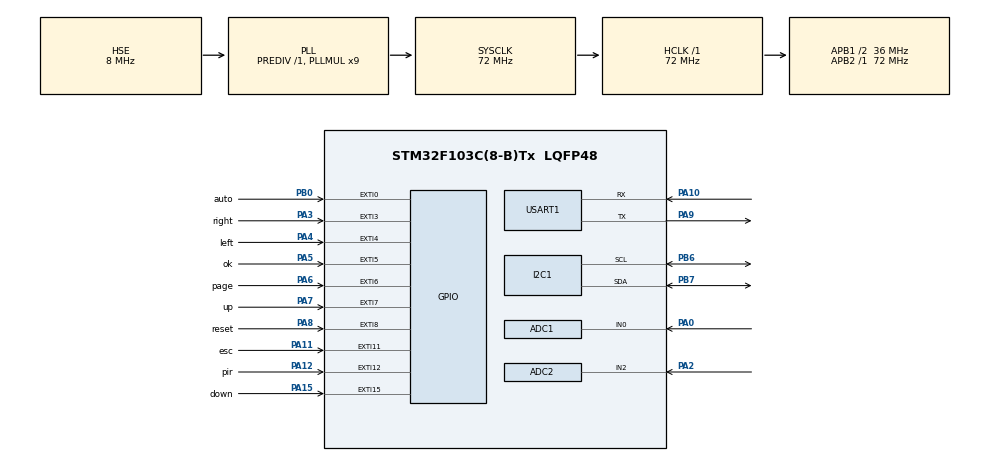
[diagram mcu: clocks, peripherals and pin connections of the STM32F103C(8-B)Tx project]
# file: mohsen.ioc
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ADC1.Channel-0\#ChannelRegularConversion=ADC_CHANNEL_0
ADC1.NbrOfConversionFlag=1
ADC1.Rank-0\#ChannelRegularConversion=1
ADC1.SamplingTime-0\#ChannelRegularConversion=ADC_SAMPLETIME_1CYCLE_5
ADC1.master=1
ADC2.Channel-1\#ChannelRegularConversion=ADC_CHANNEL_2
ADC2.NbrOfConversionFlag=1
ADC2.Rank-1\#ChannelRegularConversion=1
ADC2.SamplingTime-1\#ChannelRegularConversion=ADC_SAMPLETIME_1CYCLE_5
Dma.Request0=USART1_RX
Dma.USART1_RX.0.Direction=DMA_PERIPH_TO_MEMORY
Dma.USART1_RX.0.Instance=DMA1_Channel5
Dma.USART1_RX.0.MemDataAlignment=DMA_MDATAALIGN_BYTE
Dma.USART1_RX.0.MemInc=DMA_MINC_ENABLE
Dma.USART1_RX.0.Mode=DMA_NORMAL
Dma.USART1_RX.0.PeriphDataAlignment=DMA_PDATAALIGN_BYTE
Dma.USART1_RX.0.PeriphInc=DMA_PINC_DISABLE
Dma.USART1_RX.0.Priority=DMA_PRIORITY_LOW
IWDG.Prescaler=IWDG_PRESCALER_128
Mcu.Family=STM32F1
Mcu.Name=STM32F103C(8-B)Tx
Mcu.Package=LQFP48
NVIC.DMA1_Channel5_IRQn=true\:0\:0\:false\:false\:true\:false\:true\:true
NVIC.EXTI0_IRQn=true\:0\:0\:false\:false\:true\:true\:true\:true
NVIC.EXTI15_10_IRQn=true\:0\:0\:false\:false\:true\:true\:true\:true
NVIC.EXTI3_IRQn=true\:0\:0\:false\:false\:true\:true\:true\:true
NVIC.EXTI4_IRQn=true\:0\:0\:false\:false\:true\:true\:true\:true
NVIC.EXTI9_5_IRQn=true\:0\:0\:false\:false\:true\:true\:true\:true
NVIC.PriorityGroup=NVIC_PRIORITYGROUP_4
NVIC.TIM2_IRQn=true\:0\:0\:false\:false\:true\:true\:true\:true
NVIC.TIM3_IRQn=true\:0\:0\:false\:false\:true\:true\:true\:true
NVIC.TIM4_IRQn=true\:0\:0\:false\:false\:true\:true\:true\:true
NVIC.USART1_IRQn=true\:0\:0\:false\:false\:true\:true\:true\:true
PA0-WKUP.Signal=ADCx_IN0
PA10.Mode=Asynchronous
PA10.Signal=USART1_RX
PA11.GPIO_Label=esc
PA11.Signal=GPXTI11
PA12.GPIO_Label=pir
PA12.Signal=GPXTI12
PA13.Mode=Serial_Wire
PA13.Signal=SYS_JTMS-SWDIO
PA14.Mode=Serial_Wire
PA14.Signal=SYS_JTCK-SWCLK
PA15.GPIO_Label=down
PA15.Signal=GPXTI15
PA2.Signal=ADCx_IN2
PA3.GPIO_Label=right
PA3.Signal=GPXTI3
PA4.GPIO_Label=left
PA4.Signal=GPXTI4
PA5.GPIO_Label=ok
PA5.Signal=GPXTI5
PA6.GPIO_Label=page
PA6.Signal=GPXTI6
PA7.GPIO_Label=up
PA7.Signal=GPXTI7
PA8.GPIO_Label=reset
PA8.Signal=GPXTI8
PA9.Mode=Asynchronous
PA9.Signal=USART1_TX
PB0.GPIO_Label=auto
PB0.Signal=GPXTI0
PB6.Mode=I2C
PB6.Signal=I2C1_SCL
PB7.Mode=I2C
PB7.Signal=I2C1_SDA
PC14-OSC32_IN.Mode=LSE-External-Oscillator
PC14-OSC32_IN.Signal=RCC_OSC32_IN
PC15-OSC32_OUT.Mode=LSE-External-Oscillator
PC15-OSC32_OUT.Signal=RCC_OSC32_OUT
PD0-OSC_IN.Mode=HSE-External-Oscillator
PD0-OSC_IN.Signal=RCC_OSC_IN
PD1-OSC_OUT.Mode=HSE-External-Oscillator
PD1-OSC_OUT.Signal=RCC_OSC_OUT
ProjectManager.HeapSize=0x200
ProjectManager.StackSize=0x400
ProjectManager.TargetToolchain=MDK-ARM V5.32
RCC.ADCPresc=RCC_ADCPCLK2_DIV6
RCC.AHBFreq_Value=72000000
RCC.APB1CLKDivider=RCC_HCLK_DIV2
RCC.APB1Freq_Value=36000000
RCC.APB1TimFreq_Value=72000000
RCC.APB2Freq_Value=72000000
RCC.APB2TimFreq_Value=72000000
RCC.HCLKFreq_Value=72000000
RCC.PLLMUL=RCC_PLL_MUL9
RCC.PLLSourceVirtual=RCC_PLLSOURCE_HSE
RCC.RTCClockSelection=RCC_RTCCLKSOURCE_LSE
RCC.SYSCLKFreq_VALUE=72000000
RCC.SYSCLKSource=RCC_SYSCLKSOURCE_PLLCLK
RCC.USBFreq_Value=72000000
SH.ADCx_IN0.0=ADC1_IN0,IN0
SH.ADCx_IN2.0=ADC2_IN2,IN2
TIM2.Prescaler=7200
USART1.VirtualMode=VM_ASYNC
VP_IWDG_VS_IWDG.Mode=IWDG_Activate
VP_RTC_No_RTC_Output.Mode=RTC_OUT_NO
VP_RTC_VS_RTC_Activate.Mode=RTC_Enabled
VP_TIM2_VS_ClockSourceINT.Mode=Internal
VP_TIM3_VS_ClockSourceINT.Mode=Internal
VP_TIM4_VS_ClockSourceINT.Mode=Internal
board=custom

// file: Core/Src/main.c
/* USER CODE BEGIN Header */
/**
  ******************************************************************************
  * @file           : main.c
  * @brief          : Main program body
  ******************************************************************************
  * @attention
  *
  * Copyright (c) 2023 STMicroelectronics.
  * All rights reserved.
  *
  * This software is licensed under terms that can be found in the LICENSE file
  * in the root directory of this software component.
  * If no LICENSE file comes with this software, it is provided AS-IS.
  *
  ******************************************************************************
  */
/* USER CODE END Header */
#include "main.h"
#include "adc.h"
#include "dma.h"
#include "i2c.h"
#include "iwdg.h"
#include "rtc.h"
#include "tim.h"
#include "usart.h"
#include "gpio.h"
#include "LCD.h"
#include "menu.h"
#include "stm32f1xx_hal.h"
#include "EVENT_SAVE.h"
#include "string.h"
#include "stdio.h"
extern uint16_t KEY2;

extern int sw;
extern uint8_t RxBuf1[100];
extern DMA_HandleTypeDef hdma_usart1_rx;
 #define res        IWDG->KR  = 0xAAAA;
//maziar soliemani

/* USER CODE BEGIN PM */
#include "tim.h"
extern uint8_t CR ;
extern uint8_t TUI;
extern int sige;
uint8_t p2=0;
extern  uint8_t dg;
int autoo;
extern uint8_t FGK;
/* Private includes ----------------------------------------------------------*/
/* USER CODE BEGIN Includes */
#define relay_on    HAL_GPIO_WritePin(GPIOB,  GPIO_PIN_13, GPIO_PIN_SET)
#define relay_off    HAL_GPIO_WritePin(GPIOB,  GPIO_PIN_13, GPIO_PIN_RESET)
#define MANUAL_ON    HAL_GPIO_WritePin(GPIOB,  GPIO_PIN_3, GPIO_PIN_SET)
#define MANUAL_OFF    HAL_GPIO_WritePin(GPIOB,  GPIO_PIN_3, GPIO_PIN_RESET)
#define AUTOPILOT_ON    HAL_GPIO_WritePin(GPIOB,  GPIO_PIN_2, GPIO_PIN_SET)
#define AUTOPILOT_OFF    HAL_GPIO_WritePin(GPIOB,  GPIO_PIN_2, GPIO_PIN_RESET)
#define PIR_ON    HAL_GPIO_WritePin(GPIOB,  GPIO_PIN_8, GPIO_PIN_SET)
#define PIR_OFF    HAL_GPIO_WritePin(GPIOB,  GPIO_PIN_8, GPIO_PIN_RESET)
#define INTERNAL_ON    HAL_GPIO_WritePin(GPIOB,  GPIO_PIN_4, GPIO_PIN_SET)
#define INTERNAL_OFF    HAL_GPIO_WritePin(GPIOB,  GPIO_PIN_4, GPIO_PIN_RESET)
#define EXT_ON    HAL_GPIO_WritePin(GPIOB,  GPIO_PIN_14, GPIO_PIN_SET)
#define EXT_OFF    HAL_GPIO_WritePin(GPIOB,  GPIO_PIN_14, GPIO_PIN_RESET)
#define manu  HAL_GPIO_ReadPin( GPIOB,GPIO_PIN_0  )
#define LED_ON_FIRSTBUZZER  TX_Buffer7[0]=~((~TX_Buffer7[0])|0x10);
#define LED_OFF_FIRSTBUZZER  TX_Buffer7[0]=((TX_Buffer7[0])|0x10);
#define LED_ON_SECONDBUZZER  TX_Buffer7[0]=~((~TX_Buffer7[0])|0x20)

#define LED_OFF_SECONDBUZZER  TX_Buffer7[0]=((TX_Buffer7[0])|0x20)

extern uint8_t TIMO;
uint8_t WARN=0;
uint8_t WARN1=0;
uint8_t WARN2=0;
uint8_t WARN3=0;
  /* Private typedef -----------------------------------------------------------*/
/* USER CODE BEGIN PTD */

/* USER CODE END PTD */

/* Private define ------------------------------------------------------------*/
/* USER CODE BEGIN PD */
/* USER CODE END PD */

/* Private macro -------------------------------------------------------------*/
/* USER CODE BEGIN PM */
UART_HandleTypeDef huart1;
/* USER CODE END PM */
extern uint8_t TX_Buffer7[1];
	uint8_t pervious_second=0;
	float AD_AC=0;
  float AD_DC=0;
  RTC_TimeTypeDef sTime2 = {0};
  RTC_DateTypeDef DateToUpdate2 = {0};

uint8_t REP=0;
uint8_t REP1=0;
uint8_t REP2=0;
uint8_t REP3=0;
uint8_t REP4=0;
uint8_t minu=30;
uint8_t sec=0;
char time[20];
RTC_DateTypeDef DateToUpdate1;

	uint8_t mj2;

UART_HandleTypeDef huart1;

extern TIM_HandleTypeDef htim4;
 TIM_HandleTypeDef htim3;
 TIM_HandleTypeDef htim2;
uint8_t hg=0;
extern int rese;
extern int rese;
  extern uint16_t KEY;
extern char MENU[20];
extern uint16_t gpi;
extern float frequency ;
extern uint16_t KEY ;
 uint8_t JU =0;
 uint8_t JI =0;

TIM_HandleTypeDef htim2;
TIM_HandleTypeDef htim3;
TIM_HandleTypeDef htim4;

UART_HandleTypeDef huart1;
/* USER CODE END PM */

void SystemClock_Config(void);

/* USER CODE BEGIN 0 */
uint32_t lev;
uint32_t silent=0;
void second_buzzer(uint32_t lec){

if(lec%2==0){
	INTERNAL_OFF;
	EXT_ON;
	TX_Buffer7[0]=~((~TX_Buffer7[0])|0x20);//LED ON
	HAL_I2C_Master_Transmit(&hi2c1,0x41,TX_Buffer7,1,10);

}
else{
  TX_Buffer7[0]=((TX_Buffer7[0])|0x20);//LED OFF
 HAL_I2C_Master_Transmit(&hi2c1,0x41,TX_Buffer7,1,10);

}

}
void first_buzzer(void){

 if(lev%2==0){
	INTERNAL_ON;
	LED_ON_FIRSTBUZZER;
	 HAL_I2C_Master_Transmit(&hi2c1,0x41,TX_Buffer7,1,100);

}
else{
 INTERNAL_OFF;
 LED_OFF_FIRSTBUZZER;
			  HAL_I2C_Master_Transmit(&hi2c1,0x41,TX_Buffer7,1,100);

}

}
void lk(void){//timer watch reference

 	    HAL_FLASH_Lock();
     	mj2 =   *( uint8_t *)(0x0801ff22);
				// lcd_clear();
  			 if(mj2==0x30){
				  minu=30;
					 mj2=30;
			 }
      else if(mj2==0x20){
			 minu=20;
			  mj2=20;}
      else if(mj2==0x15){
			 minu=15;
			  mj2=15;}
      else if(mj2==0x10){
			 minu=10;
			mj2=10;}
      else if(mj2==0x05){
			 minu=5;
			 mj2=5;}
      else if(mj2==0xff){
				minu=30;
				mj2=30;
			}

 			 sec=0;
		 }
  #define pir_check    HAL_GPIO_ReadPin(GPIOA,  GPIO_PIN_12 )
  RTC_TimeTypeDef  current_time22;
/* USER CODE END 0 */
void AUTOPILOT(void){

								 AUTOPILOT_ON;
									MANUAL_OFF;
									KEY=0;
                  CR=1;
								  minu=5;
                  mj2=5;
 								  sec=0;
	                TUI=1;

}
void manual(void){

								 AUTOPILOT_OFF;
								 MANUAL_ON;
									KEY=0;
                  CR=0;

 								  sec=0;
	                TUI=0;
	                  lk();

}

  void MEASURMENT(void){

		    HAL_ADC_Start(&hadc2);
        HAL_ADC_PollForConversion(&hadc2, 1);
        AD_DC = HAL_ADC_GetValue(&hadc2);
			     HAL_ADC_Start(&hadc1);
        HAL_ADC_PollForConversion(&hadc1, 1);
	      AD_AC = HAL_ADC_GetValue(&hadc1);
	}
void ADC_CHECK(void){
        MEASURMENT();

		   if(AD_AC<0X755  && AD_DC>0X755 ){
               relay_on;
				       WARN1=1;
				        WARN=0;
			 }

				else if(AD_AC>0X775 && AD_DC<0X775) {
					 relay_off;
				   WARN=1;
					  WARN1=0;
				}

					else if(AD_AC>0X775 && AD_DC>0X775 ) {
					  relay_off;
						WARN1=0;
						WARN=0;

				}

 					else if(AD_AC<0X775 && AD_DC<0X775 ) {
					  relay_off;
						WARN1=1;
						WARN=1;

				}

}

int main(void)

{

  /* MCU Configuration--------------------------------------------------------*/

  /* Reset of all peripherals, Initializes the Flash interface and the Systick. */
   HAL_Init();

  /* Configure the system clock */
  SystemClock_Config();

   /* Initialize all configured peripherals */
	//2
  MX_GPIO_Init();
	INTERNAL_OFF;
	MANUAL_ON;
	AUTOPILOT_OFF;
 	MX_RTC_Init();
  MX_ADC2_Init();
  MX_DMA_Init();
  MX_ADC1_Init();
  MX_USART1_UART_Init();
  MX_I2C1_Init();
  MX_TIM3_Init();

	MX_TIM2_Init();
	MX_TIM4_Init();
  MANUAL_ON;
  lcd_init() ;
	lk();
		 autoo=*(uint8_t *)0x0801fcc0;
      if (autoo==0x11){
				 AUTOPILOT_ON;
				  MANUAL_OFF;
							 minu=5;
			         mj2=5;

			}
			else{
				MANUAL_ON;
				AUTOPILOT_OFF;
			}
			if( !HAL_GPIO_ReadPin(auto_GPIO_Port, auto_Pin)){

		 				 AUTOPILOT();
				    JU=1;
						hg=1;
					 INTERNAL_OFF;
	          EXT_OFF;
						 TX_Buffer7[0]=((TX_Buffer7[0])|0x20);//LED OFF
					}
			else{

			 		  manual();
				    JU=1;
						hg=1;
					 INTERNAL_OFF;
	          EXT_OFF;
						 TX_Buffer7[0]=((TX_Buffer7[0])|0x20);//LED OFF

			}

	  HAL_UARTEx_ReceiveToIdle_DMA(&huart1, (uint8_t *) RxBuf1, 10);
   __HAL_DMA_DISABLE_IT(&hdma_usart1_rx, DMA_IT_HT);
  //
	//
   //	MX_IWDG_Init();//saggggggggggggggggg

  /* Infinite loop */
  /* USER CODE BEGIN WHILE */
			//event_save(0);
  while (1)
  {
   res;
			  //RELAY_VIN_ON;
		   	//HAL_GPIO_WritePin(GPIOB,GPIO_PIN_5,GPIO_PIN_RESET);

	  HAL_RTC_GetTime(&hrtc,&current_time22,RTC_FORMAT_BIN);
		HAL_RTC_GetDate(&hrtc,&DateToUpdate1,RTC_FORMAT_BIN);

		if(sige==1 ){
			  HAL_I2C_DeInit(&hi2c1);
		    MX_I2C1_Init();
			  lcd_init() ;
		    HAL_Delay(500);
					 lcd_clear();
			     HAL_Delay(500);
				   lcd_init() ;
			     lcd_clear();
				   sige=0;
    }

   else{

				//lcd_write_string("---------");
		if(pervious_second!=current_time22.Seconds){

			lcd_set_cursor(0, 5);
			 //ADC_CHECK();
			 sprintf(time,"%02d:%02d:%02d",current_time22.Hours,current_time22.Minutes,current_time22.Seconds);

			lcd_write_string(time);
			pervious_second=current_time22.Seconds;

        lcd_set_cursor(1, 5);
			//ADC_CHECK();
			   sprintf(time,"20%02d/%02d/%02d",DateToUpdate1.Year,DateToUpdate1.Month,DateToUpdate1.Date);

 		     lcd_write_string(time);
         lcd_set_cursor(3, 0);
          //ADC_CHECK();
			   sprintf(time,"   timer: %02d:%02d",minu,sec);

 		     lcd_write_string(time);
         if(WARN==1 |WARN1==1|WARN2==1|WARN3==1 && REP1==1){

         lcd_set_cursor(2, 0);
 		     lcd_write_string("!");
					 REP1=0;
				 }
				 else{
           lcd_set_cursor(2, 0);
 		     lcd_write_string(" ");
					  REP1=1;
				 }

 			if(minu==0 && sec==0){

				if(lev==0){
				 lcd_clear();
    		 lcd_write_string("    EVENT SAVE");
			   KEY=0;
			   HAL_Delay(1000);
			   event_save(0);

			   lcd_clear();

				}
					lev+=1;
			 	 if(KEY==reset_Pin){
             silent++;
					    KEY2=0;
					    TX_Buffer7[0]=((TX_Buffer7[0])|0x20);

			}
				if(silent>=1){
 		    	minu=mj2 ;
				  sec=60;
				  minu-=1;
				  silent=0;
			    INTERNAL_OFF;
	        EXT_OFF;
				  lev=0;
					TX_Buffer7[0]=((TX_Buffer7[0])|0x10);
	        HAL_I2C_Master_Transmit(&hi2c1,0x41,TX_Buffer7,1,100);
					TX_Buffer7[0]=((TX_Buffer7[0])|0x20);
	        HAL_I2C_Master_Transmit(&hi2c1,0x41,TX_Buffer7,1,100);

				}
        else if(lev<121){
			   	 first_buzzer();

				}
				else if(lev>=121){
					 sw=1;
					 second_buzzer(lev);

				}

			}
			else{
				sw=0;
			 if(sec==0){
				sec=60;
				minu-=1;

			}

			sec-=1;

		}

			 if(pir_check==0){
				 if(minu==0){
					 PIR_ON;

				 }
				 else{
					 minu=mj2;
				   sec=0;
				 	 PIR_ON;
				 }

				}
			 else{
				   PIR_OFF;

			 }
	}
				 	if(KEY==page_Pin && lev==0){

             dg=1;
           page1_menu( );

			}
		}

}
}
void SystemClock_Config(void)
{
  RCC_OscInitTypeDef RCC_OscInitStruct = {0};
  RCC_ClkInitTypeDef RCC_ClkInitStruct = {0};
  RCC_PeriphCLKInitTypeDef PeriphClkInit = {0};

  /** Initializes the RCC Oscillators according to the specified parameters
  * in the RCC_OscInitTypeDef structure.
  */
  RCC_OscInitStruct.OscillatorType = RCC_OSCILLATORTYPE_HSE|RCC_OSCILLATORTYPE_LSE;
  RCC_OscInitStruct.HSEState = RCC_HSE_ON;
  RCC_OscInitStruct.HSEPredivValue = RCC_HSE_PREDIV_DIV1;
  RCC_OscInitStruct.LSEState = RCC_LSE_ON;
  RCC_OscInitStruct.HSIState = RCC_HSI_ON;
  RCC_OscInitStruct.PLL.PLLState = RCC_PLL_ON;
  RCC_OscInitStruct.PLL.PLLSource = RCC_PLLSOURCE_HSE;
  RCC_OscInitStruct.PLL.PLLMUL = RCC_PLL_MUL9;
  if (HAL_RCC_OscConfig(&RCC_OscInitStruct) != HAL_OK)
  {
    Error_Handler();
  }

  /** Initializes the CPU, AHB and APB buses clocks
  */
  RCC_ClkInitStruct.ClockType = RCC_CLOCKTYPE_HCLK|RCC_CLOCKTYPE_SYSCLK
                              |RCC_CLOCKTYPE_PCLK1|RCC_CLOCKTYPE_PCLK2;
  RCC_ClkInitStruct.SYSCLKSource = RCC_SYSCLKSOURCE_PLLCLK;
  RCC_ClkInitStruct.AHBCLKDivider = RCC_SYSCLK_DIV1;
  RCC_ClkInitStruct.APB1CLKDivider = RCC_HCLK_DIV2;
  RCC_ClkInitStruct.APB2CLKDivider = RCC_HCLK_DIV1;

  if (HAL_RCC_ClockConfig(&RCC_ClkInitStruct, FLASH_LATENCY_2) != HAL_OK)
  {
    Error_Handler();
  }
  PeriphClkInit.PeriphClockSelection = RCC_PERIPHCLK_RTC|RCC_PERIPHCLK_ADC;
  PeriphClkInit.RTCClockSelection = RCC_RTCCLKSOURCE_LSE;
  PeriphClkInit.AdcClockSelection = RCC_ADCPCLK2_DIV6;
  if (HAL_RCCEx_PeriphCLKConfig(&PeriphClkInit) != HAL_OK)
  {
    Error_Handler();
  }
}

void Error_Handler(void)
{
  __disable_irq();
  while (1)
  {
  }
}
